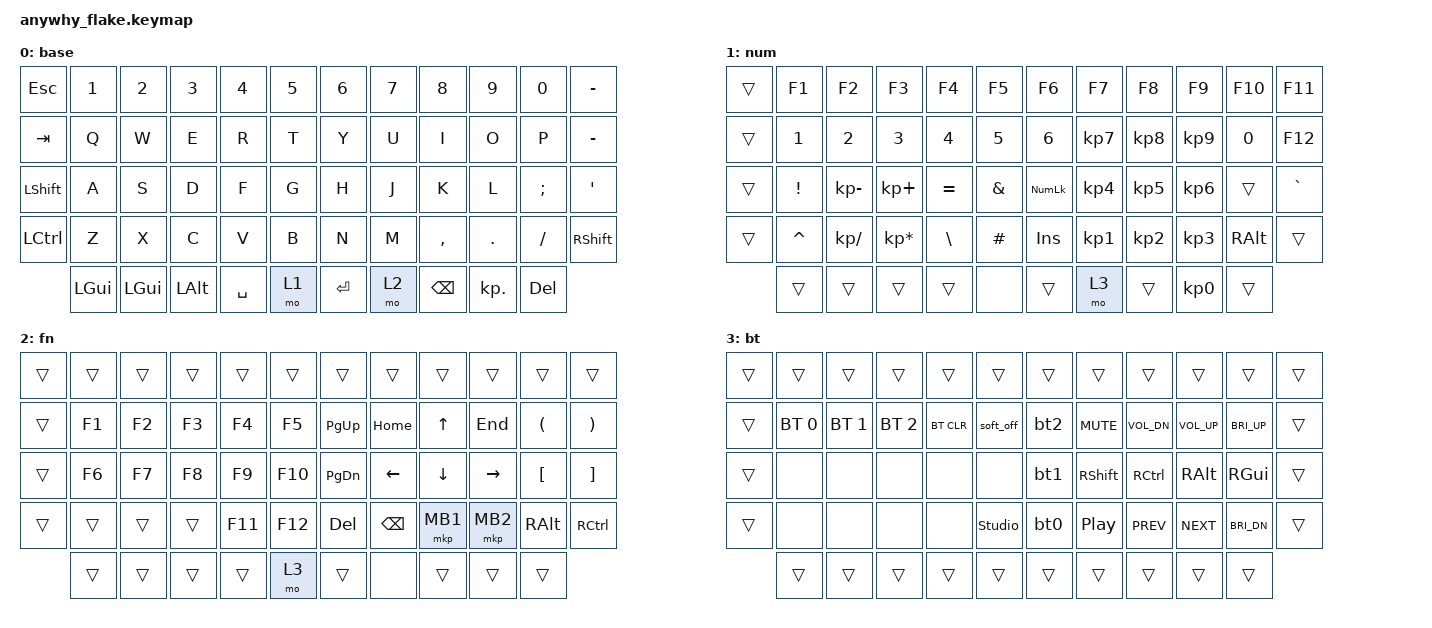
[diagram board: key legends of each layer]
#include <behaviors.dtsi>
#include <dt-bindings/zmk/bt.h>
#include <dt-bindings/zmk/keys.h>
#include <dt-bindings/zmk/pointing.h>

/ {
    combos {
        compatible = "zmk,combos";

        bt_sel_3 {
            bindings = <&bt3>;
            key-positions = <42 30>;
            layers = <3>;
        };

        bt_sel_4 {
            bindings = <&bt4>;
            key-positions = <30 18>;
            layers = <3>;
        };
    };

    macros {
        bt_clr_0: bt_clr_0 {
            compatible = "zmk,behavior-macro";
            #binding-cells = <0>;
            bindings = <&bt BT_SEL 0 &bt BT_CLR>;
            label = "BT_CLR_0";
        };

        bt_clr_1: bt_clr_1 {
            compatible = "zmk,behavior-macro";
            #binding-cells = <0>;
            bindings = <&bt BT_SEL 1 &bt BT_CLR>;
            label = "BT_CLR_1";
        };

        bt_clr_2: bt_clr_2 {
            compatible = "zmk,behavior-macro";
            #binding-cells = <0>;
            bindings = <&bt BT_SEL 2 &bt BT_CLR>;
            label = "BT_CLR_2";
        };

        bt_clr_3: bt_clr_3 {
            compatible = "zmk,behavior-macro";
            #binding-cells = <0>;
            bindings = <&bt BT_SEL 3 &bt BT_CLR>;
            label = "BT_CLR_3";
        };

        bt_clr_4: bt_clr_4 {
            compatible = "zmk,behavior-macro";
            #binding-cells = <0>;
            bindings = <&bt BT_SEL 4 &bt BT_CLR>;
            label = "BT_CLR_4";
        };
    };

    behaviors {
        bt0: bt0 {
            compatible = "zmk,behavior-mod-morph";
            label = "BT0";
            bindings = <&bt BT_SEL 0>, <&bt_clr_0>;

            #binding-cells = <0>;
            mods = <(MOD_LSFT|MOD_RSFT)>;
        };

        bt1: bt1 {
            compatible = "zmk,behavior-mod-morph";
            label = "BT1";
            bindings = <&bt BT_SEL 1>, <&bt_clr_1>;

            #binding-cells = <0>;
            mods = <(MOD_LSFT|MOD_RSFT)>;
        };

        bt2: bt2 {
            compatible = "zmk,behavior-mod-morph";
            label = "BT2";
            bindings = <&bt BT_SEL 2>, <&bt_clr_2>;

            #binding-cells = <0>;
            mods = <(MOD_LSFT|MOD_RSFT)>;
        };

        bt3: bt3 {
            compatible = "zmk,behavior-mod-morph";
            label = "BT3";
            bindings = <&bt BT_SEL 3>, <&bt_clr_3>;

            #binding-cells = <0>;
            mods = <(MOD_LSFT|MOD_RSFT)>;
        };

        bt4: bt4 {
            compatible = "zmk,behavior-mod-morph";
            label = "BT4";
            bindings = <&bt BT_SEL 4>, <&bt_clr_4>;

            #binding-cells = <0>;
            mods = <(MOD_LSFT|MOD_RSFT)>;
        };
    };

    keymap {
        compatible = "zmk,keymap";

        base {
            bindings = <
&kp ESC           &kp N1    &kp N2        &kp N3        &kp N4     &kp N5    &kp N6   &kp N7  &kp N8         &kp N9      &kp N0      &kp MINUS
&kp TAB           &kp Q     &kp W         &kp E         &kp R      &kp T     &kp Y    &kp U   &kp I          &kp O       &kp P       &kp MINUS
&kp LEFT_SHIFT    &kp A     &kp S         &kp D         &kp F      &kp G     &kp H    &kp J   &kp K          &kp L       &kp SEMI    &kp APOS
&kp LEFT_CONTROL  &kp Z     &kp X         &kp C         &kp V      &kp B     &kp N    &kp M   &kp COMMA      &kp DOT     &kp FSLH    &kp RIGHT_SHIFT
                  &kp LGUI  &kp LEFT_GUI  &kp LEFT_ALT  &kp SPACE  &mo 1     &kp RET  &mo 2   &kp BACKSPACE  &kp KP_DOT  &kp DELETE
            >;
        };

        num {
            bindings = <
&trans  &kp F1        &kp F2         &kp F3           &kp F4         &kp F5           &kp F6          &kp F7           &kp F8           &kp F9           &kp F10        &kp F11
&trans  &kp NUMBER_1  &kp NUMBER_2   &kp NUMBER_3     &kp NUMBER_4   &kp N5           &kp NUMBER_6    &kp KP_NUMBER_7  &kp KP_NUMBER_8  &kp KP_NUMBER_9  &kp N0         &kp F12
&trans  &kp EXCL      &kp KP_MINUS   &kp KP_PLUS      &kp EQUAL      &kp AMPERSAND    &kp KP_NUMLOCK  &kp KP_NUMBER_4  &kp KP_NUMBER_5  &kp KP_NUMBER_6  &trans         &kp GRAVE
&trans  &kp CARET     &kp KP_DIVIDE  &kp KP_MULTIPLY  &kp BACKSLASH  &kp HASH         &kp INSERT      &kp KP_NUMBER_1  &kp KP_NUMBER_2  &kp KP_NUMBER_3  &kp RIGHT_ALT  &trans
        &trans        &trans         &trans           &trans         &none            &trans          &mo 3            &trans           &kp KP_NUMBER_0  &trans
            >;
        };

        fn {
            bindings = <
&trans  &trans  &trans  &trans  &trans   &trans     &trans     &trans         &trans    &trans     &trans                &trans
&trans  &kp F1  &kp F2  &kp F3  &kp F4   &kp F5     &kp PG_UP  &kp HOME       &kp UP    &kp END    &kp LEFT_PARENTHESIS  &kp RIGHT_PARENTHESIS
&trans  &kp F6  &kp F7  &kp F8  &kp F9   &kp F10    &kp PG_DN  &kp LEFT       &kp DOWN  &kp RIGHT  &kp LEFT_BRACKET      &kp RIGHT_BRACKET
&trans  &trans  &trans  &trans  &kp F11  &kp F12    &kp DEL    &kp BACKSPACE  &mkp MB1  &mkp MB2   &kp RIGHT_ALT         &kp RIGHT_CONTROL
        &trans  &trans  &trans  &trans   &mo 3      &trans     &none          &trans    &trans     &trans
            >;
        };

        bt {
            bindings = <
&trans  &trans        &trans        &trans        &trans      &trans            &trans  &trans      &trans        &trans        &trans        &trans
&trans  &bt BT_SEL 0  &bt BT_SEL 1  &bt BT_SEL 2  &bt BT_CLR  &soft_off         &bt2    &kp C_MUTE  &kp C_VOL_DN  &kp C_VOL_UP  &kp C_BRI_UP  &trans
&trans  &none         &none         &none         &none       &none             &bt1    &kp RSHFT   &kp RCTRL     &kp RALT      &kp RGUI      &trans
&trans  &none         &none         &none         &none       &studio_unlock    &bt0    &kp C_PP    &kp C_PREV    &kp C_NEXT    &kp C_BRI_DN  &trans
        &trans        &trans        &trans        &trans      &trans            &trans  &trans      &trans        &trans        &trans
            >;
        };
    };
};
